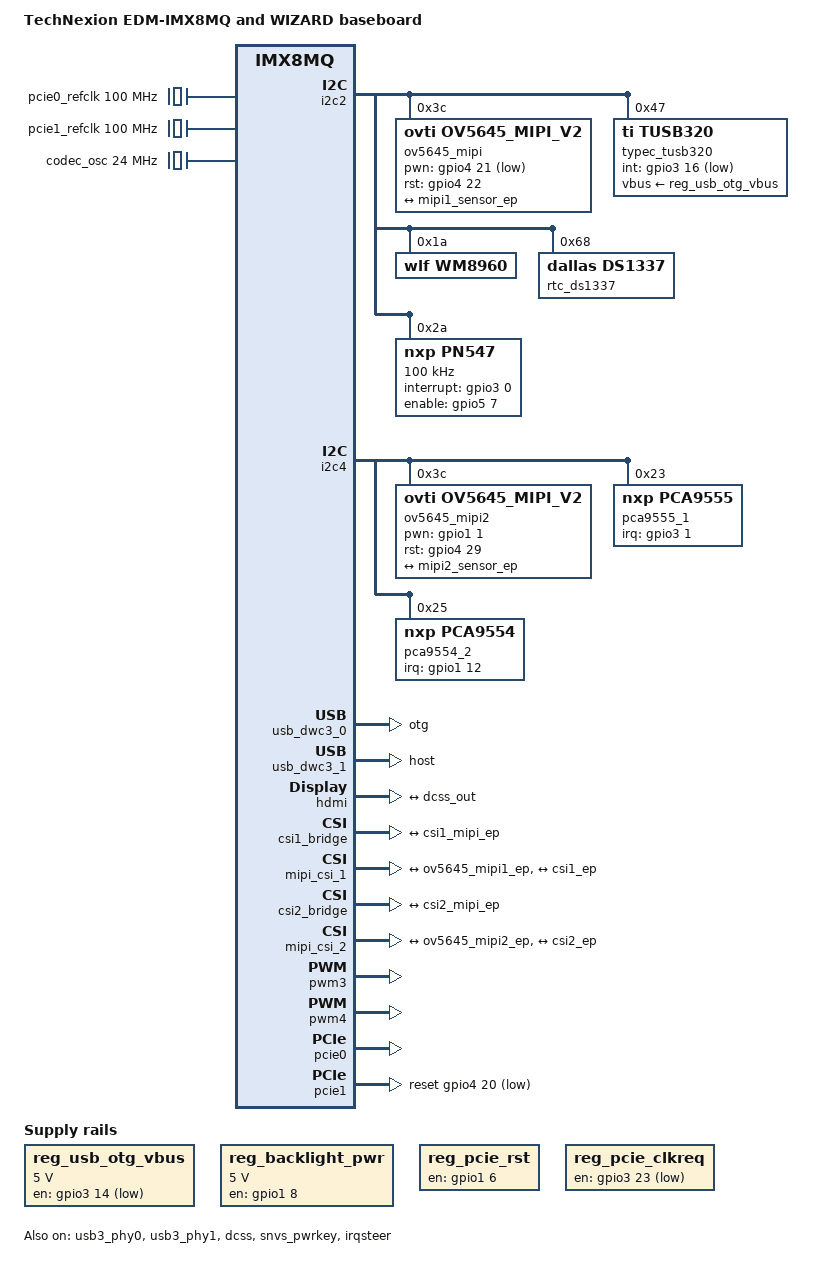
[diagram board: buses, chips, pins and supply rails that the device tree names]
/*
 * Copyright 2019 TechNexion Ltd.
 * Copyright 2017 NXP
 *
 * Author: Richard Hu <richard.hu@technexion.com>
 *         Ray Chang <ray.chang@technexion.com>
 *         Wig Cheng <wig.cheng@technexion.com>
 *
 * This program is free software; you can redistribute it and/or
 * modify it under the terms of the GNU General Public License
 * as published by the Free Software Foundation; either version 2
 * of the License, or (at your option) any later version.
 *
 * This program is distributed in the hope that it will be useful,
 * but WITHOUT ANY WARRANTY; without even the implied warranty of
 * MERCHANTABILITY or FITNESS FOR A PARTICULAR PURPOSE.  See the
 * GNU General Public License for more details.
 */

/dts-v1/;

#include "imx8mq-edm.dtsi"

/ {
	model = "TechNexion EDM-IMX8MQ and WIZARD baseboard";
	compatible = "edm,imx8mq-edm", "fsl,imx8mq";

	pcie0_refclk: pcie0-refclk {
		compatible = "fixed-clock";
		#clock-cells = <0>;
		clock-frequency = <100000000>;
	};

	pcie1_refclk: pcie0-refclk {
		compatible = "fixed-clock";
		#clock-cells = <0>;
		clock-frequency = <100000000>;
	};

	regulators {
		compatible = "simple-bus";
		#address-cells = <1>;
		#size-cells = <0>;

		reg_usb_otg_vbus: usb_otg_vbus {
			pinctrl-names = "default";
			pinctrl-0 = <&pinctrl_otg_vbus>;
			compatible = "regulator-fixed";
			regulator-name = "usb_otg_vbus";
			regulator-min-microvolt = <5000000>;
			regulator-max-microvolt = <5000000>;
			gpio = <&gpio3 14 GPIO_ACTIVE_LOW>;
		};

		reg_backlight_pwr: regulator_blpwr {
			pinctrl-names = "default";
			pinctrl-0 = <&pinctrl_backlight_pwr>;
			compatible = "regulator-fixed";
			regulator-name = "backlight_pwr";
			regulator-min-microvolt = <5000000>;
			regulator-max-microvolt = <5000000>;
			gpio = <&gpio1 8 GPIO_ACTIVE_HIGH>;
			enable-active-high;
		};

		reg_pcie_rst: regulator_pcierst {
			pinctrl-names = "default";
			pinctrl-0 = <&pinctrl_pcie0_rst>;
			compatible = "regulator-fixed";
			regulator-name = "pcie0_rst";
			gpio = <&gpio1 6 GPIO_ACTIVE_HIGH>;
			enable-active-high;
			regulator-always-on;
		};

		reg_pcie_clkreq: regulator_clkreq {
			pinctrl-names = "default";
			pinctrl-0 = <&pinctrl_pcie0>;
			compatible = "regulator-fixed";
			regulator-name = "pcie0_clkreq";
			gpio = <&gpio3 23 GPIO_ACTIVE_LOW>;
			enable-active-low;
			regulator-always-on;
		};
	};

	backlight_mipi {
		compatible = "pwm-backlight";
		pwms = <&pwm3 0 50000 0>;
		brightness-levels = <0 36 72 108 144 180 216 255>;
		default-brightness-level = <6>;
		power-supply = <&reg_backlight_pwr>;
		status = "disabled";
	};

	sound-wm8960 {
		compatible = "fsl,imx-audio-wm8960";
		model = "wm8960-audio";
		cpu-dai = <&sai2>;
		codec-master;
		audio-codec = <&wm8960>;
		audio-routing =
			"Headphone Jack", "HP_L",
			"Headphone Jack", "HP_R",
			"Ext Spk", "SPK_LP",
			"Ext Spk", "SPK_LN",
			"Ext Spk", "SPK_RP",
			"Ext Spk", "SPK_RN",
			"LINPUT1", "Main MIC",
			"Main MIC", "MICB";
		/* JD2: hp detect high for headphone*/
		hp-det = <2 0>;
	};

	clocks {
		codec_osc: aud_mclk {
			compatible = "fixed-clock";
			#clock-cells = <0>;
			clock-frequency = <24000000>;
			clock-output-names = "wm8960-mclk";
		};
	};

	sound-hdmi {
		compatible = "fsl,imx8mq-evk-cdnhdmi",
				"fsl,imx-audio-cdnhdmi";
		model = "imx-audio-hdmi";
		audio-cpu = <&sai4>;
		protocol = <1>;
		hdmi-out;
		constraint-rate = <44100>,
				<88200>,
				<176400>,
				<32000>,
				<48000>,
				<96000>,
				<192000>;
	};
};

&iomuxc {
	imx8mq-pico {
		pinctrl_otg_vbus: otgvbusgrp {
			fsl,pins = <
				MX8MQ_IOMUXC_NAND_DQS_GPIO3_IO14		0x19   /* USB OTG VBUS Enable */
			>;
		};

		pinctrl_dsi_pwm: dsi_pwm {
			fsl,pins = <
				MX8MQ_IOMUXC_I2C3_SDA_PWM3_OUT		0x16	/* DSI PWM */
			>;
		};

		pinctrl_fan_pwm: fan_pwm {
			fsl,pins = <
				MX8MQ_IOMUXC_I2C3_SCL_PWM4_OUT			0x16	/* FAN PWM */
			>;
		};

		pinctrl_tusb320_irq: tusb320_irqgrp {
			fsl,pins = <
				MX8MQ_IOMUXC_NAND_READY_B_GPIO3_IO16	0x41
			>;
		};

		pinctrl_csi1: csi1grp {
			fsl,pins = <
				MX8MQ_IOMUXC_GPIO1_IO01_GPIO1_IO1			0x19   /* CSI P2 PWDN */
				MX8MQ_IOMUXC_SAI3_RXC_GPIO4_IO29			0x19   /* CSI P2 RESET*/
			>;
		};

		pinctrl_csiedm: csiedmgrp {
			fsl,pins = <
				MX8MQ_IOMUXC_SAI2_RXFS_GPIO4_IO21		0x19   /* CSI EDM PWDN */
				MX8MQ_IOMUXC_SAI2_RXC_GPIO4_IO22		0x19   /* CSI nRST */
				MX8MQ_IOMUXC_GPIO1_IO15_CCMSRCGPCMIX_CLKO2	0x59
			>;
		};

		pinctrl_pcie0: pcie0grp {
			fsl,pins = <
				MX8MQ_IOMUXC_SAI5_RXD2_GPIO3_IO23	0x76 /* PCIE_A_CLKREQn, open drain, pull up */
			>;
		};

		pinctrl_pcie0_rst: pcie1rstgrp {
			fsl,pins = <
				MX8MQ_IOMUXC_GPIO1_IO06_GPIO1_IO6	0x16 /* PCIE_A_PERSTn */
			>;
		};

		pinctrl_pcie1: pcie1grp {
			fsl,pins = <
				MX8MQ_IOMUXC_SAI1_MCLK_GPIO4_IO20	0x16 /* PCIE_nRST */
			>;
		};

		pinctrl_mipi_dsi_rst: mipi_dsi_rst {
			fsl,pins = <
				MX8MQ_IOMUXC_NAND_CE3_B_GPIO3_IO4	0x16   /* DSI RST, GPIO_P257 */
			>;
		};

		pinctrl_touch_irq: touch_irqgrp {
			fsl,pins = <
				MX8MQ_IOMUXC_GPIO1_IO07_GPIO1_IO7	0x41
			>;
		};

		pinctrl_touch_rst: touch_rstgrp {
			fsl,pins = <
				MX8MQ_IOMUXC_NAND_WP_B_GPIO3_IO18	0x16	/* GPIO_P260 */
			>;
		};

		pinctrl_backlight_pwr: backlight_pwrgrp {
			fsl,pins = <
				MX8MQ_IOMUXC_GPIO1_IO08_GPIO1_IO8	0x19
			>;
		};

		pinctrl_pca9555_1: pca9555_1grp {
			fsl,pins = <
				MX8MQ_IOMUXC_NAND_CE0_B_GPIO3_IO1	0x41 /* irq */
			>;
		};

		pinctrl_pca9554_2: pca9554_2grp {
			fsl,pins = <
				MX8MQ_IOMUXC_GPIO1_IO12_GPIO1_IO12	0x41 /* irq */
			>;
		};

		pinctrl_nfc_ctrl: nfc_ctrl {
			fsl,pins = <
				MX8MQ_IOMUXC_ECSPI1_MOSI_GPIO5_IO7		0x19	/* PIN_ENABLE */
				MX8MQ_IOMUXC_NAND_ALE_GPIO3_IO0			0x19	/* PIN_INT */
			>;
		};
	};
};

&i2c2 {
	status = "okay";

	ov5645_mipi: ov5645_mipi@3c {
		compatible = "ovti,ov5645_mipi_v2";
		reg = <0x3c>;
		status = "okay";
		pinctrl-names = "default";
		pinctrl-0 = <&pinctrl_csiedm>;
		clocks = <&clk IMX8MQ_CLK_CLKO2>;
		clock-names = "csi_mclk";
		assigned-clocks = <&clk IMX8MQ_CLK_CLKO2>;
		assigned-clock-parents = <&clk IMX8MQ_SYS2_PLL_200M>;
		assigned-clock-rates = <24000000>;
		csi_id = <0>;
		pwn-gpios = <&gpio4 21 GPIO_ACTIVE_LOW>;
		rst-gpios = <&gpio4 22 GPIO_ACTIVE_HIGH>;
		mclk = <24000000>;
		mclk_source = <0>;
		port {
			ov5645_mipi1_ep: endpoint {
				remote-endpoint = <&mipi1_sensor_ep>;
			};
		};
	};

	typec_tusb320:tusb320@47 {
		compatible = "ti,tusb320";
		pinctrl-names = "default";
		pinctrl-0 = <&pinctrl_tusb320_irq>;
		reg = <0x47>;
		vbus-supply = <&reg_usb_otg_vbus>;
		tusb320,int-gpio = <&gpio3 16 GPIO_ACTIVE_LOW>;
		tusb320,select-mode = <0>;
		tusb320,dfp-power = <0>;
	};

	wm8960: codec@1a {
		compatible = "wlf,wm8960";
		#sound-dai-cells = <0>;
		reg = <0x1a>;
		clocks = <&codec_osc>;
		clock-names = "mclk";
		wlf,shared-lrclk;
		wlf,fixed-mclk;
	};

	rtc_ds1337: ds1337@68 {
		compatible = "dallas,ds1337";
		reg = <0x68>;
	};

	pn547: pn547@2a {
		compatible = "nxp,pn547";
		reg = <0x2a>;
		pinctrl-names = "default";
		pinctrl-0 = <&pinctrl_nfc_ctrl>;
		clock-frequency = <100000>;
		interrupt-gpios = <&gpio3 0 0>;
		enable-gpios = <&gpio5 7 0>;
		/* When you enable NFC, you must to disable ov5645_mipi2 device */
		status = "okay";
	};
};

&i2c4 {
	status = "okay";

	ov5645_mipi2: ov5645_mipi2@3c {
		compatible = "ovti,ov5645_mipi_v2";
		reg = <0x3c>;
		status = "okay";
		pinctrl-names = "default";
		pinctrl-0 = <&pinctrl_csi1>;
		clocks = <&clk IMX8MQ_CLK_CLKO2>;
		clock-names = "csi_mclk";
		assigned-clocks = <&clk IMX8MQ_CLK_CLKO2>;
		assigned-clock-parents = <&clk IMX8MQ_SYS2_PLL_200M>;
		assigned-clock-rates = <24000000>;
		csi_id = <1>;
		pwn-gpios = <&gpio1 1 GPIO_ACTIVE_HIGH>;
		rst-gpios = <&gpio4 29 GPIO_ACTIVE_HIGH>;
		mclk = <24000000>;
		mclk_source = <0>;
		port {
			ov5645_mipi2_ep: endpoint {
				remote-endpoint = <&mipi2_sensor_ep>;
			};
		};
	};

	pca9555_1: pca9555_1@23 {
		compatible = "nxp,pca9555";
		pinctrl-names = "default";
		pinctrl-0 = <&pinctrl_pca9555_1>;
		interrupt-parent = <&gpio3>;
		interrupts = <1 IRQ_TYPE_EDGE_FALLING>;
		reg =<0x23>;
		gpio-controller;
		#gpio-cells = <2>;
		interrupt-controller;
		#interrupt-cells = <2>;
	};

	pca9554_2: pca9554_2@25 {
		compatible = "nxp,pca9554";
		pinctrl-names = "default";
		pinctrl-0 = <&pinctrl_pca9554_2>;
		interrupt-parent = <&gpio1>;
		interrupts = <12 IRQ_TYPE_EDGE_FALLING>;
		reg =<0x25>;
		gpio-controller;
		#gpio-cells = <2>;
		interrupt-controller;
		#interrupt-cells = <2>;
		gpio-line-names =
			"EXP_PIN13", "EXP_PIN29", "EXP_PIN31", "EXP_PIN37", "EXP_PIN16", "EXP_PIN18", "EXP_PIN22", "EXP_PIN36";
	};
};

&usb3_phy0 {
	status = "okay";
};

&usb_dwc3_0 {
	extcon = <&typec_tusb320>;
	dr_mode = "otg";
	status = "okay";
};

&usb3_phy1 {
	status = "okay";
};

&usb_dwc3_1 {
	status = "okay";
	dr_mode = "host";
};

&dcss {
	status = "okay";

	port@0 {
		dcss_out: endpoint {
			remote-endpoint = <&hdmi_in>;
		};
	};
};

&hdmi {
	compatible = "cdn,imx8mq-hdmi";
	lane-mapping = <0xe4>;
	status = "okay";
	port@1 {
		hdmi_in: endpoint {
			remote-endpoint = <&dcss_out>;
		};
	};
};

&csi1_bridge {
	fsl,mipi-mode;
	fsl,two-8bit-sensor-mode;
	status = "okay";

	port {
		csi1_ep: endpoint {
		remote-endpoint = <&csi1_mipi_ep>;
		};
	};
};

&mipi_csi_1 {
	#address-cells = <1>;
	#size-cells = <0>;
	status = "okay";
	port {
		mipi1_sensor_ep: endpoint@1 {
			remote-endpoint = <&ov5645_mipi1_ep>;
			data-lanes = <1 2>;
		};

		csi1_mipi_ep: endpoint@2 {
			remote-endpoint = <&csi1_ep>;
		};
	};
};

&csi2_bridge {
	fsl,mipi-mode;
	fsl,two-8bit-sensor-mode;
	status = "okay";

	port {
		csi2_ep: endpoint {
			remote-endpoint = <&csi2_mipi_ep>;
		};
	};
};

&mipi_csi_2 {
	#address-cells = <1>;
	#size-cells = <0>;
	status = "okay";
	port {
		mipi2_sensor_ep: endpoint@1 {
			remote-endpoint = <&ov5645_mipi2_ep>;
			data-lanes = <1 2>;
		};

		csi2_mipi_ep: endpoint@2 {
			remote-endpoint = <&csi2_ep>;
		};
	};
};

&pwm3 {
	pinctrl-names = "default";
	pinctrl-0 = <&pinctrl_dsi_pwm>;
	status = "okay";
};

&pwm4 {
	pinctrl-names = "default";
	pinctrl-0 = <&pinctrl_fan_pwm>;
	status = "okay";
};

&pcie0 {
	clocks = <&clk IMX8MQ_CLK_PCIE1_ROOT>,
			<&clk IMX8MQ_CLK_PCIE1_AUX>,
			<&clk IMX8MQ_CLK_PCIE1_PHY>,
			<&pcie0_refclk>;
	clock-names = "pcie", "pcie_aux", "pcie_phy", "pcie_bus";
	disable-gpio = <&pca9555_1 5 GPIO_ACTIVE_LOW>;
	ext_osc = <1>;
	status = "okay";
};

&pcie1{
	pinctrl-names = "default";
	pinctrl-0 = <&pinctrl_pcie1>;
	clocks = <&clk IMX8MQ_CLK_PCIE2_ROOT>,
			<&clk IMX8MQ_CLK_PCIE2_AUX>,
			<&clk IMX8MQ_CLK_PCIE2_PHY>,
			<&pcie1_refclk>;
	clock-names = "pcie", "pcie_aux", "pcie_phy", "pcie_bus";
	clkreq-gpio = <&pca9555_1 4 GPIO_ACTIVE_LOW>;
	disable-gpio = <&pca9555_1 1 GPIO_ACTIVE_LOW>;
	reset-gpio = <&gpio4 20 GPIO_ACTIVE_LOW>;
	ext_osc = <1>;
	status = "okay";
};

&snvs_pwrkey {
    status = "okay";
};

&irqsteer {
    status = "okay";
};


